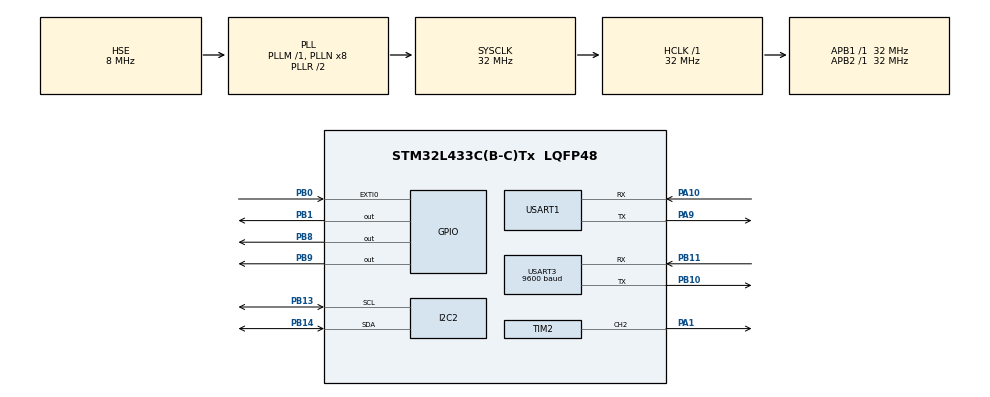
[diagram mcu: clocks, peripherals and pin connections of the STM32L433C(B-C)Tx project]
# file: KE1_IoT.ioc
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Mcu.Family=STM32L4
NVIC.USART3_IRQn=true\:1\:0\:true\:false\:true\:true\:true
RCC.MSI_VALUE=4000000
RCC.PLLSourceVirtual=RCC_PLLSOURCE_HSE
RCC.CortexFreq_Value=32000000
PA10.Mode=Asynchronous
PB10.Mode=Asynchronous
PH0-OSC_IN\ (PH0).Signal=RCC_OSC_IN
I2C2.Timing=0x00707CBB
TIM2.Channel-PWM\ Generation2\ CH2=TIM_CHANNEL_2
PB11.Signal=USART3_RX
PB13.Signal=I2C2_SCL
PH1-OSC_OUT\ (PH1).Signal=RCC_OSC_OUT
RCC.SYSCLKSource=RCC_SYSCLKSOURCE_PLLCLK
ProjectManager.StackSize=0x400
USART3.VirtualMode-Asynchronous=VM_ASYNC
USART1.VirtualMode-Asynchronous=VM_ASYNC
SH.S_TIM2_CH2.0=TIM2_CH2,PWM Generation2 CH2
PA9.Mode=Asynchronous
USART3.BaudRate=9600
PB11.Mode=Asynchronous
ProjectManager.TargetToolchain=STM32CubeIDE
RCC.HCLKFreq_Value=32000000
RCC.APB2TimFreq_Value=32000000
PA9.Signal=USART1_TX
RCC.USBFreq_Value=32000000
RCC.LSE_VALUE=32768
PA1.Signal=S_TIM2_CH2
RCC.AHBFreq_Value=32000000
PB10.Signal=USART3_TX
PB14.Signal=I2C2_SDA
PH1-OSC_OUT\ (PH1).Mode=HSE-External-Oscillator
RCC.HSE_VALUE=8000000
board=custom
RCC.VCOOutputFreq_Value=64000000
PB0.GPIO_ModeDefaultEXTI=GPIO_MODE_IT_RISING
RCC.APB2Freq_Value=32000000
VP_TIM2_VS_ClockSourceINT.Mode=Internal
PB14.Mode=I2C
RCC.ADCFreq_Value=32000000
PB8.PinState=GPIO_PIN_RESET
TIM2.Period=370-1
Mcu.Name=STM32L433C(B-C)Tx
NVIC.EXTI0_IRQn=true\:4\:0\:true\:false\:true\:true\:true
RCC.SYSCLKFreq_VALUE=32000000
Mcu.Package=LQFP48
PB9.Signal=GPIO_Output
TIM2.Prescaler=32-1
PB1.Signal=GPIO_Output
PA10.Signal=USART1_RX
ProjectManager.HeapSize=0x200
TIM2.Pulse-PWM\ Generation2\ CH2=180
RCC.HSI_VALUE=16000000
NVIC.PriorityGroup=NVIC_PRIORITYGROUP_4
RCC.APB1TimFreq_Value=32000000
PB8.Signal=GPIO_Output
PB13.Mode=I2C
RCC.APB1Freq_Value=32000000
PB0.Signal=GPXTI0
PH0-OSC_IN\ (PH0).Mode=HSE-External-Oscillator
PB0.GPIO_PuPd=GPIO_PULLDOWN
RCC.HSI48_VALUE=48000000

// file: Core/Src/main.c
/* USER CODE BEGIN Header */
/**
  ******************************************************************************
  * @file           : main.c
  * @brief          : Main program body
  ******************************************************************************
  * @attention
  *
  * <h2><center>&copy; Copyright (c) 2021 STMicroelectronics.
  * All rights reserved.</center></h2>
  *
  * This software component is licensed by ST under BSD 3-Clause license,
  * the "License"; You may not use this file except in compliance with the
  * License. You may obtain a copy of the License at:
  *                        opensource.org/licenses/BSD-3-Clause
  *
  ******************************************************************************
  */
/* USER CODE END Header */
#include "main.h"
#include "i2c.h"
#include "tim.h"
#include "usart.h"
#include "gpio.h"

/* USER CODE BEGIN Includes */
#include <stdio.h>
#include <string.h>
#include "oled.h"
/* USER CODE END Includes */

void SystemClock_Config(void);

/* USER CODE BEGIN 0 */
void vdAscii2hex(char *pcAscii, char *pcHex)
{
	int iDlen = 0, i = 0, pos = 0;
	iDlen = strlen(pcAscii);
	if(128 < iDlen) return;
	for(i=0; i<iDlen; i++){
		sprintf(&pcHex[pos], "%02X", pcAscii[i]);
		pos += 2;
	}
}
/* USER CODE END 0 */

int main(void)
{
  /* USER CODE BEGIN 1 */
	uint8_t atCase = 0, warnFlag = 0;
	uint16_t usTimeout = 500;

	float fTemp = 0.0, fHumi = 0.0;
	int dLen = 0, iCnt = 0;
	char acDevInfo[128] = {0}, acHexBuf[256] = {0}, acAtBuf[300] = {0};
  /* USER CODE END 1 */

  /* MCU Configuration--------------------------------------------------------*/

  /* Reset of all peripherals, Initializes the Flash interface and the Systick. */
  HAL_Init();

  /* Configure the system clock */
  SystemClock_Config();

  /* Initialize all configured peripherals */
  MX_GPIO_Init();
  MX_I2C2_Init();
  MX_USART1_UART_Init();
  MX_USART3_UART_Init();
  MX_TIM2_Init();
  /* USER CODE BEGIN 2 */
  printf("Hello NB-IoT Demo !!!!\n");
  UART_Enable_Receive_IT();
  /* USER CODE END 2 */

  /* Infinite loop */
  /* USER CODE BEGIN WHILE */
  	memset(acDevInfo, 0, sizeof(acDevInfo));
	memset(acHexBuf, 0, sizeof(acHexBuf));
	memset(acAtBuf, 0, sizeof(acAtBuf));
	KE1_I2C_SHT31_Init();

	OLED_Init();
	OLED_DrawLogo();

	HAL_Delay(1000);
	OLED_Clear();
	OLED_Show_MyBilibili();

	HAL_Delay(1000);
	OLED_Clear();

	KE1_I2C_SHT31(&fTemp, &fHumi);
	OLED_ShowT_H(fTemp, fHumi);
  while (1)
  {
    /* USER CODE END WHILE */

    /* USER CODE BEGIN 3 */
#if 1
	warnFlag = Get_Human_Warn();
	if(1 == warnFlag){//�?测有异常�?
		Beep_Start(1);//报警响起�?
		if(11 == atCase){
			atCase = 10;// 发�?�信息到服务�?
		}
		OLED_Clear();
		OLED_Show_Warn();
	}
	usTimeout = 1000;
	switch(atCase){
		case 0:
			UART_Put_AT_Cmd("AT\r\n");atCase++;
		break;
		case 1:
			UART_Put_AT_Cmd("ATE1\r\n");atCase++;
		break;
		case 2:
			UART_Put_AT_Cmd("AT+CFUN=0\r\n");atCase++;
		break;
		case 3:
			UART_Put_AT_Cmd("AT+CGSN=1\r\n");atCase++;
		break;
		case 4:
			UART_Put_AT_Cmd("AT+NCDP=180.101.147.115,5683\r\n");atCase++;
		break;
		case 5:
			UART_Put_AT_Cmd("AT+CFUN=1\r\n"); usTimeout = 3000;atCase++;
		break;
		case 6:
			UART_Put_AT_Cmd("AT+CGDCONT=1,\"IP\",\"CTNB\"\r\n");atCase++;
		break;
		case 7:
			UART_Put_AT_Cmd("AT+CGATT=1\r\n");atCase++;
		break;
		case 8:
			//UART_Put_AT_Cmd("AT+CGATT?\r\n");atCase++;
		break;
		case 9:
			//UART_Put_AT_Cmd("AT+CSQ\r\n");
		break;
		case 10:

		//  printf("T:%0.2f,H:%0.2f\r\n", fTemp, fHumi);
			memset(acDevInfo, 0, sizeof(acDevInfo));
			memset(acHexBuf, 0, sizeof(acHexBuf));
			memset(acAtBuf, 0, sizeof(acAtBuf));

			dLen = snprintf(acDevInfo, sizeof(acDevInfo), "{\"T\":\"%0.2f\",\"H\":\"%0.2f\",\"W\":\"%d\"}", fTemp, fHumi, warnFlag);// 打包设备传感器数�????
			vdAscii2hex(acDevInfo, acHexBuf);
			snprintf(acAtBuf, sizeof(acAtBuf), "AT+NMGS=%d,00%04X%s\r\n", (dLen+3), dLen, acHexBuf);
			printf("%s\r\n", acDevInfo);
			UART_Put_AT_Cmd(acAtBuf);
			Beep_Start(0);
			atCase++;
			iCnt = 0;
		break;
	}
	dLen = UART_Get_AT_Resp((uint8_t *)acAtBuf, sizeof(acAtBuf), usTimeout);
	if(0 < dLen){
	  //printf("--- AT RESP ---\r\n");
	  printf("%s", acAtBuf);
	  if(NULL != strstr((char *)acAtBuf, "+QLWEVTIND:3")){
		  atCase = 10;
	  }
	  memset(acAtBuf, 0, sizeof(acAtBuf));
	}

	KE1_I2C_SHT31(&fTemp, &fHumi);
	OLED_ShowT_H(fTemp, fHumi);
	//HAL_Delay(1000);
	iCnt++;
	if(3600 == iCnt){
	  atCase = 10;
	}
#endif
  }
  /* USER CODE END 3 */
}

void SystemClock_Config(void)
{
  RCC_OscInitTypeDef RCC_OscInitStruct = {0};
  RCC_ClkInitTypeDef RCC_ClkInitStruct = {0};
  RCC_PeriphCLKInitTypeDef PeriphClkInit = {0};

  /** Initializes the RCC Oscillators according to the specified parameters
  * in the RCC_OscInitTypeDef structure.
  */
  RCC_OscInitStruct.OscillatorType = RCC_OSCILLATORTYPE_HSE;
  RCC_OscInitStruct.HSEState = RCC_HSE_ON;
  RCC_OscInitStruct.PLL.PLLState = RCC_PLL_ON;
  RCC_OscInitStruct.PLL.PLLSource = RCC_PLLSOURCE_HSE;
  RCC_OscInitStruct.PLL.PLLM = 1;
  RCC_OscInitStruct.PLL.PLLN = 8;
  RCC_OscInitStruct.PLL.PLLP = RCC_PLLP_DIV7;
  RCC_OscInitStruct.PLL.PLLQ = RCC_PLLQ_DIV2;
  RCC_OscInitStruct.PLL.PLLR = RCC_PLLR_DIV2;
  if (HAL_RCC_OscConfig(&RCC_OscInitStruct) != HAL_OK)
  {
    Error_Handler();
  }
  /** Initializes the CPU, AHB and APB buses clocks
  */
  RCC_ClkInitStruct.ClockType = RCC_CLOCKTYPE_HCLK|RCC_CLOCKTYPE_SYSCLK
                              |RCC_CLOCKTYPE_PCLK1|RCC_CLOCKTYPE_PCLK2;
  RCC_ClkInitStruct.SYSCLKSource = RCC_SYSCLKSOURCE_PLLCLK;
  RCC_ClkInitStruct.AHBCLKDivider = RCC_SYSCLK_DIV1;
  RCC_ClkInitStruct.APB1CLKDivider = RCC_HCLK_DIV1;
  RCC_ClkInitStruct.APB2CLKDivider = RCC_HCLK_DIV1;

  if (HAL_RCC_ClockConfig(&RCC_ClkInitStruct, FLASH_LATENCY_1) != HAL_OK)
  {
    Error_Handler();
  }
  PeriphClkInit.PeriphClockSelection = RCC_PERIPHCLK_USART1|RCC_PERIPHCLK_USART3
                              |RCC_PERIPHCLK_I2C2;
  PeriphClkInit.Usart1ClockSelection = RCC_USART1CLKSOURCE_PCLK2;
  PeriphClkInit.Usart3ClockSelection = RCC_USART3CLKSOURCE_PCLK1;
  PeriphClkInit.I2c2ClockSelection = RCC_I2C2CLKSOURCE_PCLK1;
  if (HAL_RCCEx_PeriphCLKConfig(&PeriphClkInit) != HAL_OK)
  {
    Error_Handler();
  }
  /** Configure the main internal regulator output voltage
  */
  if (HAL_PWREx_ControlVoltageScaling(PWR_REGULATOR_VOLTAGE_SCALE1) != HAL_OK)
  {
    Error_Handler();
  }
}

void Error_Handler(void)
{
  __disable_irq();
  while (1)
  {
  }
}

/************************ (C) COPYRIGHT STMicroelectronics *****END OF FILE****/
